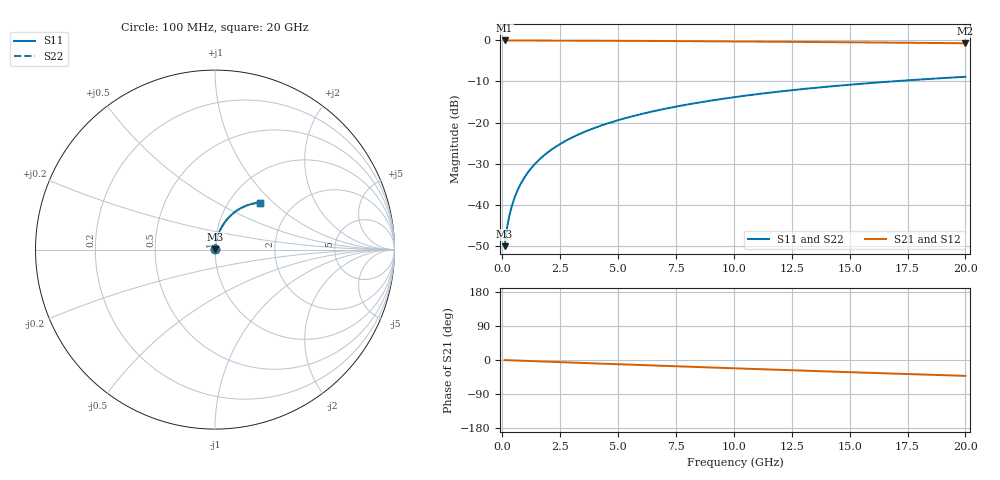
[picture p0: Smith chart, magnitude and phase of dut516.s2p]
! Touchstone file exported from HFSS 2026.1.0
!  File:  C:/ffzhzh/LocalFiles/Ansys_Project_Files/temp_train_BSMRDL_516_1783014473_4048.aedt
!  Generated:  01:49:16 AM Jul  3, 2026
!  Design:  BSMRDL
!  Project:  temp_train_BSMRDL_516_1783014473_4048
! Variables:
!  h_bsmrdl = 5.24um
!  h_ox = 20um
!  h_rdl = 5um
!  h_sub = 80um
!  h_tmrdl = 5um
!  h_tsv = 80um
!  h_via = 3um
!  l_bsmrdl = 628.14um
!  l_sub = 1028.14um
!  l_tmrdl = 200um
!  m_sub = 200um
!  pitch = 50.5um
!  r_tsv = 6um
!  s_tmrdl = 10um
!  w_bsmrdl = 23.3um
!  w_sub = 500um
!  w_tmrdl = 12um
!  x_tsv_center1 = 206um
!  x_tsv_center2 = 857.44um
!  x_tsv_center3 = 1069.44um
!  x_tsv_center4 = 1720.88um
!  x_tsv_center5 = 1932.88um
!  x_tsv_center6 = 2584.32um
# GHz S MA R 50.000000
! Terminal data exported
! Port[1] = BSM_RDL1_1_T1
! Port[2] = BSM_RDL1_1_T2
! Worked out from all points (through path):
!   200 points, 100 MHz to 20 GHz, reference 50 ohm
!   highest |S21| = -0.02 dB at 100 MHz (marker M1); lowest = -0.7 dB at 20 GHz (marker M2)
!   group delay of S21, straight-line fit = 5.82 ps
!   lowest |S11| = -50.1 dB at 100 MHz (marker M3), VSWR 1.01, Z = 50.2 + j0.24 ohm
!   |S11| at or under -10 dB: start of sweep to 16.81 GHz
!   |S22| runs from -50.1 to -8.9 dB; largest |S21 - S12| = 4e-15
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0.1  0.003126 50.0  0.998 -0.2  0.998 -0.2  0.003126 50.0
! Gamma 0 0 0 0
! Port Impedance 50 0 50 0
0.2  0.005144 64.9  0.9978 -0.5  0.9978 -0.5  0.005144 64.9
0.3  0.007239 71.2  0.9977 -0.7  0.9977 -0.7  0.007239 71.2
0.4  0.009362 74.7  0.9976 -0.9  0.9976 -0.9  0.009362 74.7
0.5  0.01151 76.9  0.9976 -1.2  0.9976 -1.2  0.01151 76.9
0.7  0.01584 79.5  0.9974 -1.6  0.9974 -1.6  0.01584 79.5
0.8  0.01801 80.2  0.9973 -1.8  0.9973 -1.8  0.01801 80.2
1  0.02237 81.1  0.9972 -2.3  0.9972 -2.3  0.02237 81.0
1.2  0.02674 81.5  0.9969 -2.7  0.9969 -2.7  0.02674 81.5
1.4  0.0311 81.6  0.9967 -3.2  0.9967 -3.2  0.0311 81.6
1.7  0.03762 81.6  0.9963 -3.9  0.9963 -3.9  0.03762 81.6
2  0.0441 81.3  0.9958 -4.5  0.9958 -4.5  0.0441 81.3
2.7  0.05908 80.3  0.9945 -6.1  0.9945 -6.1  0.05908 80.3
3.5  0.07593 78.8  0.9928 -7.9  0.9928 -7.9  0.07593 78.8
4.2  0.09044 77.5  0.991 -9.4  0.991 -9.4  0.09043 77.5
5  0.1068 75.9  0.9889 -11.2  0.9889 -11.2  0.1068 75.9
6.8  0.1426 72.3  0.9833 -15.1  0.9833 -15.1  0.1426 72.3
8.3  0.1716 69.3  0.978 -18.3  0.978 -18.3  0.1716 69.3
10.1  0.2051 65.7  0.9709 -22.1  0.9709 -22.1  0.2051 65.7
13.4  0.2626 59.2  0.9561 -28.9  0.9561 -28.9  0.2626 59.2
16.7  0.3146 52.8  0.9398 -35.5  0.9398 -35.5  0.3146 52.8
20  0.3607 46.6  0.9228 -41.9  0.9228 -41.9  0.3607 46.6
